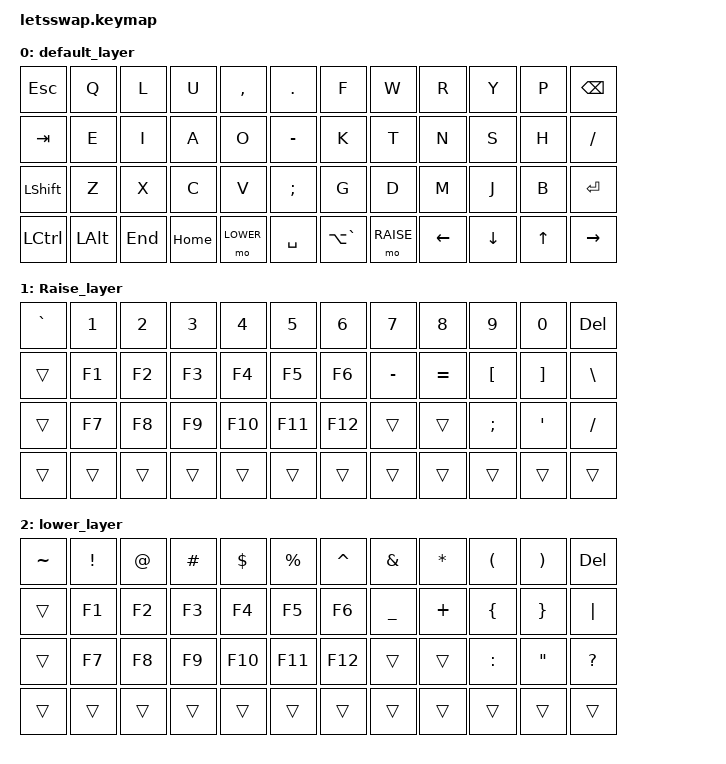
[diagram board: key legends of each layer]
#include <behaviors.dtsi>
#include <dt-bindings/zmk/keys.h>
#include <dt-bindings/zmk/bt.h>
#define DEFAULT 0
#define RAISE 1
#define LOWER 2

/ {
    keymap {
        compatible = "zmk,keymap";

        default_layer {
            bindings = <
            &kp ESC   &kp Q    &kp L   &kp U &kp COMMA &kp DOT   &kp F         &kp W       &kp R    &kp Y    &kp P      &kp BSPC
            &kp TAB   &kp E    &kp I   &kp A &kp O     &kp MINUS &kp K         &kp T       &kp N    &kp S    &kp H      &kp SLASH
            &kp LSHFT &kp Z    &kp X   &kp C &kp V     &kp SEMI  &kp G         &kp D       &kp M    &kp J    &kp B      &kp ENTER
            &kp LCTRL &kp LALT &kp END &kp HOME        &mo LOWER &kp SPACE &kp LA(GRAVE) &mo RAISE   &kp LEFT &kp DOWN &kp UP     &kp RIGHT
            >;
        };

        Raise_layer {
            bindings = <
            &kp GRAVE &kp N1  &kp N2  &kp N3  &kp N4   &kp N5  &kp N6  &kp N7    &kp N8    &kp N9   &kp N0   &kp DEL
            &trans    &kp F1  &kp F2  &kp F3  &kp F4   &kp F5  &kp F6  &kp MINUS &kp EQUAL &kp LBKT &kp RBKT &kp BSLH
            &trans    &kp F7  &kp F8  &kp F9  &kp F10  &kp F11 &kp F12 &trans    &trans    &kp SEMI &kp APOS &kp SLASH
            &trans    &trans  &trans  &trans  &trans   &trans  &trans  &trans    &trans    &trans   &trans   &trans
            >;
        };
            
        lower_layer {
            bindings = <
            &kp TILDE &kp EXCL &kp AT  &kp HASH &kp DLLR &kp PRCNT &kp CARET &kp AMPS  &kp ASTRK &kp LPAR  &kp RPAR &kp DEL
            &trans    &kp F1   &kp F2  &kp F3   &kp F4   &kp F5    &kp F6    &kp UNDER &kp PLUS  &kp LBRC  &kp RBRC &kp PIPE
            &trans    &kp F7   &kp F8  &kp F9   &kp F10  &kp F11   &kp F12   &trans    &trans    &kp COLON &kp DQT  &kp QMARK
            &trans    &trans   &trans  &trans   &trans   &trans    &trans    &trans    &trans    &trans    &trans   &trans
            >;
        };
    };
};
